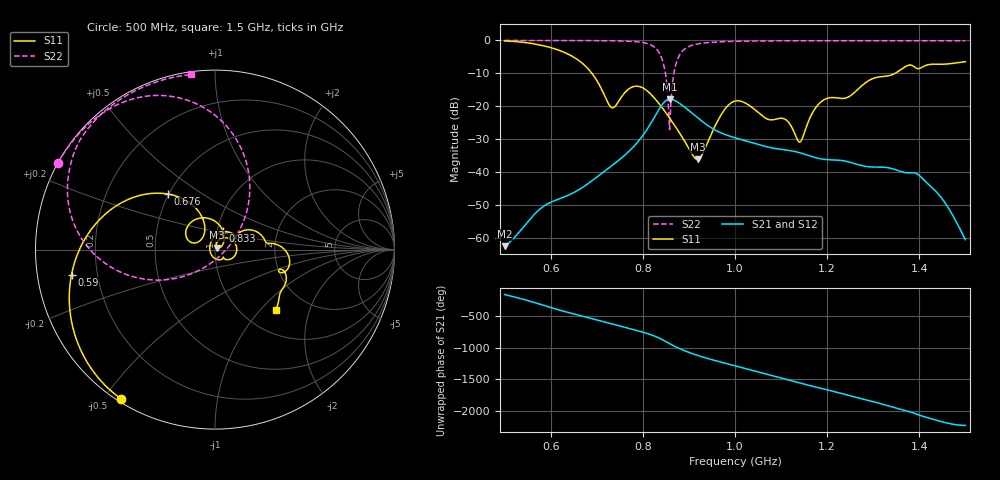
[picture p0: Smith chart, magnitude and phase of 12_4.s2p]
! TOUCHSTONE file generated by CST MICROWAVE STUDIO
! Date and time: Wed Oct 28 19:15:37 2020
! Project name: Scenario_1_Circular_Tissue_out_of_Line.cst
! Parameters = {dy1=-155.249; L_HA=400; MT=2.54; Rad_Dielectric=30; Rad_Lower=7.3; Rad_Upper=30; a_HA=580; a_WG=246; b_HA=500; b_WG=121; c_HA=0; c_WG=187; d_feed=85; dx1=693; h_feed=15; h_lower=18; h_upper=40}
! Header version: 2018
! Port assignment regex: !\s*Touchstone port\s*([0-9]+)\s*=\s*(CST MWS port|CST DS port)\s*([0-9]+|Zmin|Zmax)\s*\(\"(.*)\"\)(\s*mode\s*([0-9]+))?.*
! Touchstone port assignment:
! Touchstone port 1 = CST MWS port 1 ("")
! Touchstone port 2 = CST MWS port 2 ("")
# GHz S DB R 50
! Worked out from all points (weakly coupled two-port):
!   1001 points, 500 MHz to 1.5 GHz, reference 50 ohm
!   highest |S21| = -17.82 dB at 859 MHz (marker M1); lowest = -62.4 dB at 500 MHz (marker M2)
!   lowest |S11| = -36.1 dB at 919 MHz (marker M3), VSWR 1.03, Z = 51.1 + j1.17 ohm
!   |S11| at or under -10 dB: 689.5 MHz to 1.347 GHz (657.6 MHz wide, 64.6 % of centre)
!   |S22| runs from -27.1 to 0.0 dB; largest |S21 - S12| = 2.4e-06
!   S11 on the Smith chart (normalised r, x): 500 MHz: 0.01, -0.55; 590 MHz: 0.10, -0.09; 676 MHz: 0.50, +0.37; 833 MHz: 1.07, +0.23; 1.5 GHz: 1.41, -1.22
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0.5  -0.15 -122.3  -62.44 -170.6  -62.44 -170.6  -0.01 151.1
0.59  -1.82 -170.1  -49.85 7.4  -49.85 7.4  -0.02 144.9
0.667  -6.74 137.0  -44.79 -145.2  -44.79 -145.2  -0.04 138.4
0.676  -7.86 130.1  -43.95 -161.9  -43.95 -161.9  -0.05 137.5
0.732  -20.37 136.4  -38.08 92.0  -38.08 92.0  -0.11 130.6
0.784  -13.89 134.6  -31.61 -7.1  -31.61 -7.1  -0.37 119.0
0.833  -18.81 67.8  -21.41 -123.8  -21.41 -123.8  -3.19 84.8
0.834  -18.99 66.7  -21.18 -127.1  -21.18 -127.1  -3.39 83.4
0.846  -21.18 53.7  -18.78 -170.8  -18.78 -170.8  -7.83 61.4
0.855  -22.94 44.8  -17.90 152.9  -17.90 152.9  -18.74 26.8
0.859  -23.75 41.2  -17.82 136.9  -17.82 136.9  -24.83 -88.6
0.868  -25.61 33.9  -18.14 102.8  -18.14 102.8  -9.50 -149.7
0.877  -27.50 27.6  -18.86 71.9  -18.86 71.9  -5.18 -167.4
0.919  -36.14 47.1  -23.48 -43.9  -23.48 -43.9  -1.05 158.1
1  -18.41 10.6  -29.55 153.1  -29.55 153.1  -0.26 140.2
1.109  -23.94 -63.4  -33.23 -53.6  -33.23 -53.6  -0.12 128.9
1.14  -30.84 -170.0  -34.06 -114.0  -34.06 -114.0  -0.11 126.4
1.167  -22.27 87.4  -35.26 -164.7  -35.26 -164.7  -0.09 124.2
1.195  -17.87 48.0  -36.12 146.6  -36.12 146.6  -0.09 122.0
1.334  -10.69 7.2  -38.68 -115.5  -38.68 -115.5  -0.09 111.5
1.403  -8.34 -16.6  -41.36 94.0  -41.36 94.0  -0.10 106.1
1.5  -6.46 -44.6  -60.48 -60.0  -60.47 -59.9  -0.13 97.9
